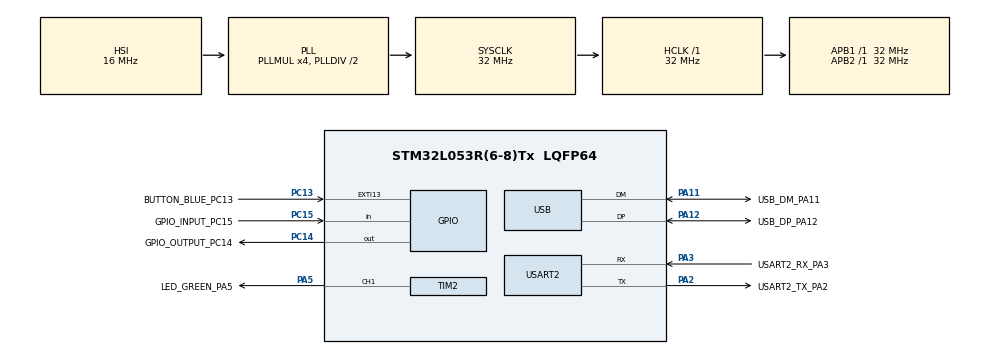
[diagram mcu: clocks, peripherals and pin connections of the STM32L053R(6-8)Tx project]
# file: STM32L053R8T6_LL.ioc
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ADC.ContinuousConvMode=ENABLE
ADC.DMAContinuousRequests=ENABLE
ADC.EOCSelection=ADC_EOC_SEQ_CONV
ADC.Overrun=ADC_OVR_DATA_OVERWRITTEN
ADC.SamplingTime=ADC_SAMPLETIME_160CYCLES_5
Dma.ADC.0.Direction=DMA_PERIPH_TO_MEMORY
Dma.ADC.0.Instance=DMA1_Channel1
Dma.ADC.0.MemDataAlignment=DMA_MDATAALIGN_HALFWORD
Dma.ADC.0.MemInc=DMA_MINC_ENABLE
Dma.ADC.0.Mode=DMA_CIRCULAR
Dma.ADC.0.PeriphDataAlignment=DMA_PDATAALIGN_HALFWORD
Dma.ADC.0.PeriphInc=DMA_PINC_DISABLE
Dma.ADC.0.Priority=DMA_PRIORITY_LOW
Dma.Request0=ADC
Mcu.Family=STM32L0
Mcu.Name=STM32L053R(6-8)Tx
Mcu.Package=LQFP64
NVIC.ADC1_COMP_IRQn=true\:0\:0\:false\:false\:true\:true\:true\:true
NVIC.DMA1_Channel1_IRQn=true\:0\:0\:false\:false\:true\:false\:true\:true
NVIC.EXTI4_15_IRQn=true\:0\:0\:false\:false\:true\:true\:true\:true
NVIC.TIM2_IRQn=true\:0\:0\:false\:false\:true\:true\:true\:true
NVIC.USART2_IRQn=true\:0\:0\:false\:false\:true\:true\:true\:true
NVIC.USB_IRQn=true\:0\:0\:false\:false\:true\:false\:true\:true
PA11.GPIO_Label=USB_DM_PA11
PA11.Mode=Device
PA11.Signal=USB_DM
PA12.GPIO_Label=USB_DP_PA12
PA12.Mode=Device
PA12.Signal=USB_DP
PA2.GPIO_Label=USART2_TX_PA2
PA2.Mode=Asynchronous
PA2.Signal=USART2_TX
PA3.GPIO_Label=USART2_RX_PA3
PA3.Mode=Asynchronous
PA3.Signal=USART2_RX
PA5.GPIO_Label=LED_GREEN_PA5
PA5.Signal=S_TIM2_CH1
PC13.GPIO_Label=BUTTON_BLUE_PC13
PC13.GPIO_ModeDefaultEXTI=GPIO_MODE_IT_RISING_FALLING
PC13.Signal=GPXTI13
PC14-OSC32_IN.GPIO_Label=GPIO_OUTPUT_PC14
PC14-OSC32_IN.Signal=GPIO_Output
PC15-OSC32_OUT.GPIO_Label=GPIO_INPUT_PC15
PC15-OSC32_OUT.Signal=GPIO_Input
ProjectManager.HeapSize=0x200
ProjectManager.StackSize=0x400
ProjectManager.TargetToolchain=STM32CubeIDE
RCC.AHBFreq_Value=32000000
RCC.APB1Freq_Value=32000000
RCC.APB1TimFreq_Value=32000000
RCC.APB2Freq_Value=32000000
RCC.APB2TimFreq_Value=32000000
RCC.HCLKFreq_Value=32000000
RCC.HSE_VALUE=8000000
RCC.HSI16_VALUE=16000000
RCC.HSI48MClockSelection=RCC_USBCLKSOURCE_HSI48
RCC.HSI48_VALUE=48000000
RCC.HSI_VALUE=16000000
RCC.LSE_VALUE=32768
RCC.MSI_VALUE=2097000
RCC.PLLMUL=RCC_PLLMUL_4
RCC.SYSCLKFreq_VALUE=32000000
RCC.SYSCLKSource=RCC_SYSCLKSOURCE_PLLCLK
RCC.VCOOutputFreq_Value=64000000
SH.S_TIM2_CH1.0=TIM2_CH1,PWM Generation1 CH1
TIM2.AutoReloadPreload=TIM_AUTORELOAD_PRELOAD_ENABLE
TIM2.Channel-PWM\ Generation1\ CH1=TIM_CHANNEL_1
TIM2.Period=999
TIM2.Prescaler=31
USART2.VirtualMode-Asynchronous=VM_ASYNC
USB_DEVICE.APP_RX_DATA_SIZE=256
USB_DEVICE.APP_TX_DATA_SIZE=256
USB_DEVICE.CLASS_NAME_FS=CDC
USB_DEVICE.VirtualMode=Cdc
USB_DEVICE.VirtualModeFS=Cdc_FS
VP_ADC_TempSens_Input.Mode=IN-TempSens
VP_ADC_Vref_Input.Mode=IN-Vrefint
VP_TIM2_VS_ClockSourceINT.Mode=Internal
VP_USB_DEVICE_VS_USB_DEVICE_CDC_FS.Mode=CDC_FS
board=custom

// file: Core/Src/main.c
/* USER CODE BEGIN Header */
/**
  ******************************************************************************
  * @file           : main.c
  * @brief          : Main program body
  ******************************************************************************
  * @attention
  *
  * Copyright (c) 2024 STMicroelectronics.
  * All rights reserved.
  *
  * This software is licensed under terms that can be found in the LICENSE file
  * in the root directory of this software component.
  * If no LICENSE file comes with this software, it is provided AS-IS.
  *
  ******************************************************************************
  */
/* USER CODE END Header */
#include "main.h"
#include "adc.h"
#include "dma.h"
#include "tim.h"
#include "usart.h"
#include "usb_device.h"
#include "gpio.h"

/* USER CODE BEGIN Includes */
#include "usbd_cdc_if.h"
/* USER CODE END Includes */

/* USER CODE BEGIN PD */
#define CMD_BUFFER_SIZE 64
/* USER CODE END PD */

/* USER CODE BEGIN PV */
uint8_t uart2_rx_data = 0;

uint8_t print_test_idx = 0;
//led
uint8_t led_toggle = 0;
uint16_t led_duty = 0;
uint8_t led_pwm_is_start = 0;
// cmd
uint8_t cmd_buffer[CMD_BUFFER_SIZE] = {0};
uint8_t cmd_index = 0;
uint8_t cmd_activate = 0;
/* USER CODE END PV */

void SystemClock_Config(void);

int main(void)
{

  /* MCU Configuration--------------------------------------------------------*/

  /* Reset of all peripherals, Initializes the Flash interface and the Systick. */
  HAL_Init();

  /* Configure the system clock */
  SystemClock_Config();

  /* Initialize all configured peripherals */
  MX_GPIO_Init();
  MX_DMA_Init();
  MX_TIM2_Init();
  MX_USART2_UART_Init();
  MX_USB_DEVICE_Init();
  MX_ADC_Init();
  /* USER CODE BEGIN 2 */
  DMA_ADC_Initialize();
  ADC_Initialize();

  HAL_UART_Receive_IT(&huart2, &uart2_rx_data, 1);

  //HAL_TIM_PWM_Start(&htim2, TIM_CHANNEL_1);
  LL_TIM_EnableIT_CC1(TIM2); // Use Interrupt
  LL_TIM_CC_EnableChannel(TIM2, LL_TIM_CHANNEL_CH1);
  LL_TIM_EnableCounter(TIM2);

  led_pwm_is_start = 1;

  printf("STM32L053R8T6 LL Initialize!!\r\n\r\n");
  /* USER CODE END 2 */

  /* Infinite loop */
  /* USER CODE BEGIN WHILE */
  while (1)
  {
#if 1
	if(cmd_activate == 1)
	{
		//__HAL_TIM_SET_COMPARE(&htim2, TIM_CHANNEL_1, led_duty);
		LL_TIM_OC_SetCompareCH1(TIM2, led_duty);

		cmd_activate = 0;
	}
#elif 0
	printf("print test %d\r\n", print_test_idx++);
	HAL_Delay(500);

	led_duty += 100;
	if(led_duty > 1000)
	{
		led_duty = 0;
	}
#elif 0
	printf("print test %d\r\n", print_test_idx++);
	HAL_Delay(500);

	if(led_toggle == 0)
	{
		HAL_TIM_PWM_Start(&htim2, TIM_CHANNEL_1);
		__HAL_TIM_SET_COMPARE(&htim2, TIM_CHANNEL_1, 1000);
		led_toggle = 1;
	}
	else
	{
		HAL_TIM_PWM_Stop(&htim2, TIM_CHANNEL_1);
		__HAL_TIM_SET_COMPARE(&htim2, TIM_CHANNEL_1, 0);
		led_toggle = 0;
	}
#endif
    /* USER CODE END WHILE */

  }
}

void SystemClock_Config(void)
{
  RCC_OscInitTypeDef RCC_OscInitStruct = {0};
  RCC_ClkInitTypeDef RCC_ClkInitStruct = {0};
  RCC_PeriphCLKInitTypeDef PeriphClkInit = {0};

  /** Configure the main internal regulator output voltage
  */
  __HAL_PWR_VOLTAGESCALING_CONFIG(PWR_REGULATOR_VOLTAGE_SCALE1);

  /** Initializes the RCC Oscillators according to the specified parameters
  * in the RCC_OscInitTypeDef structure.
  */
  RCC_OscInitStruct.OscillatorType = RCC_OSCILLATORTYPE_HSI|RCC_OSCILLATORTYPE_HSI48;
  RCC_OscInitStruct.HSIState = RCC_HSI_ON;
  RCC_OscInitStruct.HSICalibrationValue = RCC_HSICALIBRATION_DEFAULT;
  RCC_OscInitStruct.HSI48State = RCC_HSI48_ON;
  RCC_OscInitStruct.PLL.PLLState = RCC_PLL_ON;
  RCC_OscInitStruct.PLL.PLLSource = RCC_PLLSOURCE_HSI;
  RCC_OscInitStruct.PLL.PLLMUL = RCC_PLLMUL_4;
  RCC_OscInitStruct.PLL.PLLDIV = RCC_PLLDIV_2;
  if (HAL_RCC_OscConfig(&RCC_OscInitStruct) != HAL_OK)
  {
    Error_Handler();
  }

  /** Initializes the CPU, AHB and APB buses clocks
  */
  RCC_ClkInitStruct.ClockType = RCC_CLOCKTYPE_HCLK|RCC_CLOCKTYPE_SYSCLK
                              |RCC_CLOCKTYPE_PCLK1|RCC_CLOCKTYPE_PCLK2;
  RCC_ClkInitStruct.SYSCLKSource = RCC_SYSCLKSOURCE_PLLCLK;
  RCC_ClkInitStruct.AHBCLKDivider = RCC_SYSCLK_DIV1;
  RCC_ClkInitStruct.APB1CLKDivider = RCC_HCLK_DIV1;
  RCC_ClkInitStruct.APB2CLKDivider = RCC_HCLK_DIV1;

  if (HAL_RCC_ClockConfig(&RCC_ClkInitStruct, FLASH_LATENCY_1) != HAL_OK)
  {
    Error_Handler();
  }
  PeriphClkInit.PeriphClockSelection = RCC_PERIPHCLK_USART2|RCC_PERIPHCLK_USB;
  PeriphClkInit.Usart2ClockSelection = RCC_USART2CLKSOURCE_PCLK1;
  PeriphClkInit.UsbClockSelection = RCC_USBCLKSOURCE_HSI48;
  if (HAL_RCCEx_PeriphCLKConfig(&PeriphClkInit) != HAL_OK)
  {
    Error_Handler();
  }
}

/* USER CODE BEGIN 4 */
int _write(int fd, char *str, int len)
{
  HAL_UART_Transmit(&huart2, (uint8_t *)str, len, 0xFFFF);
  CDC_Transmit_FS((uint8_t*)str, len);

  return len;
}

void Put_Char(uint8_t data)
{
  HAL_UART_Transmit(&huart2, &data, 1, HAL_MAX_DELAY);
  CDC_Transmit_FS((uint8_t*)&data, 1);
}

void Put_String(const char *format, ...)
{
  va_list ap;
  char buf[64] = {0};
  uint8_t len = 0;

  va_start(ap, format);
  vsprintf(buf, format, ap);

  len = strlen(buf);

  HAL_UART_Transmit(&huart2, (uint8_t *)buf, len, 0xFFFF);
  CDC_Transmit_FS((uint8_t*)buf, len);

  va_end(ap);
}

void Cmd_Input(uint8_t rx_data)
{
	if(rx_data == '\r' || rx_data == '\n')
	{
		led_duty = atoi((char*)cmd_buffer);

		if(led_duty > 1010)
		{
			if(led_pwm_is_start == 1)
			{
				//HAL_TIM_PWM_Stop(&htim2, TIM_CHANNEL_1);
				LL_TIM_DisableIT_CC1(TIM2); // Use Interrupt
				LL_TIM_CC_DisableChannel(TIM2, LL_TIM_CHANNEL_CH1);
				LL_TIM_DisableCounter(TIM2);

				led_pwm_is_start = 0;
			}
			else
			{
				//HAL_TIM_PWM_Start(&htim2, TIM_CHANNEL_1);
				LL_TIM_EnableIT_CC1(TIM2); // Use Interrupt
				LL_TIM_CC_EnableChannel(TIM2, LL_TIM_CHANNEL_CH1);
				LL_TIM_EnableCounter(TIM2);

				led_pwm_is_start = 1;
			}
		}
		else
		{
			cmd_activate = 1;
		}

		Put_String("\r\n%s\r\n > ", cmd_buffer);

		memset(cmd_buffer, 0x00, CMD_BUFFER_SIZE);
		cmd_index = 0;

		return;
	}

	if(cmd_buffer[cmd_index] == CMD_BUFFER_SIZE)
	{
		return;
	}

	if('0' <= rx_data && rx_data <= '9')
	{
		cmd_buffer[cmd_index] = rx_data;
		cmd_index++;
		Put_String("%c", rx_data);
	}
}

void HAL_UART_RxCpltCallback(UART_HandleTypeDef *huart)
{
  if(huart->Instance == USART2)
  {
	Cmd_Input(uart2_rx_data);

	HAL_UART_Receive_IT(&huart2, &uart2_rx_data, 1);
  }
}

void LL_GPIO_EXTI_Callback(uint16_t GPIO_Pin)
{
	if(GPIO_Pin == BUTTON_BLUE_PC13_Pin)
	{
		//if(HAL_GPIO_ReadPin(BUTTON_BLUE_PC13_GPIO_Port, BUTTON_BLUE_PC13_Pin) == GPIO_PIN_SET)
		if(LL_GPIO_ReadInputPort(BUTTON_BLUE_PC13_GPIO_Port) & GPIO_IDR_ID13)
		{
			//HAL_GPIO_WritePin(GPIO_OUTPUT_PC14_GPIO_Port, GPIO_OUTPUT_PC14_Pin, GPIO_PIN_RESET);
			LL_GPIO_ResetOutputPin(GPIO_OUTPUT_PC14_GPIO_Port, GPIO_OUTPUT_PC14_Pin);
			Put_String("Button Pull, GPIO_OUTPUT_PC14 RESET\r\n");
		}
		else
		{
			//HAL_GPIO_WritePin(GPIO_OUTPUT_PC14_GPIO_Port, GPIO_OUTPUT_PC14_Pin, GPIO_PIN_SET);
			LL_GPIO_SetOutputPin(GPIO_OUTPUT_PC14_GPIO_Port, GPIO_OUTPUT_PC14_Pin);
			Put_String("Button Push, GPIO_OUTPUT_PC14 SET\r\n");
		}

		Put_String("GPIO_OUTPUT_PC14 BSRR %ld\r\n", READ_BIT(GPIO_OUTPUT_PC14_GPIO_Port->BSRR, GPIO_OUTPUT_PC14_Pin) >> 14);
		Put_String("GPIO_OUTPUT_PC14 BRR %ld\r\n", READ_BIT(GPIO_OUTPUT_PC14_GPIO_Port->BRR, GPIO_OUTPUT_PC14_Pin) >> 14);
		Put_String("GPIO_OUTPUT_PC14 ODR %ld\r\n", READ_BIT(LL_GPIO_ReadOutputPort(GPIO_OUTPUT_PC14_GPIO_Port), GPIO_ODR_OD14) >> GPIO_ODR_OD14_Pos);
		//Put_String("GPIO_OUTPUT_PC14 IDR %ld\r\n", HAL_GPIO_ReadPin(GPIO_OUTPUT_PC14_GPIO_Port, GPIO_OUTPUT_PC14_Pin));
		Put_String("GPIO_OUTPUT_PC14 IDR %ld\r\n", READ_BIT(LL_GPIO_ReadInputPort(GPIO_OUTPUT_PC14_GPIO_Port), GPIO_IDR_ID14) >> GPIO_IDR_ID14_Pos);
		//Put_String("GPIO_INPUT_PC15 IDR %ld\r\n", HAL_GPIO_ReadPin(GPIO_INPUT_PC15_GPIO_Port, GPIO_INPUT_PC15_Pin));
		Put_String("GPIO_INPUT_PC15 IDR %ld\r\n", (LL_GPIO_ReadInputPort(GPIO_INPUT_PC15_GPIO_Port) & GPIO_IDR_ID15) >> GPIO_IDR_ID15_Pos);

		Put_String("ADC %d %d\r\n", ADC_Raw_Data[0], ADC_Raw_Data[1]);
	}
}
/* USER CODE END 4 */

void Error_Handler(void)
{
  __disable_irq();
  while (1)
  {
  }
}
